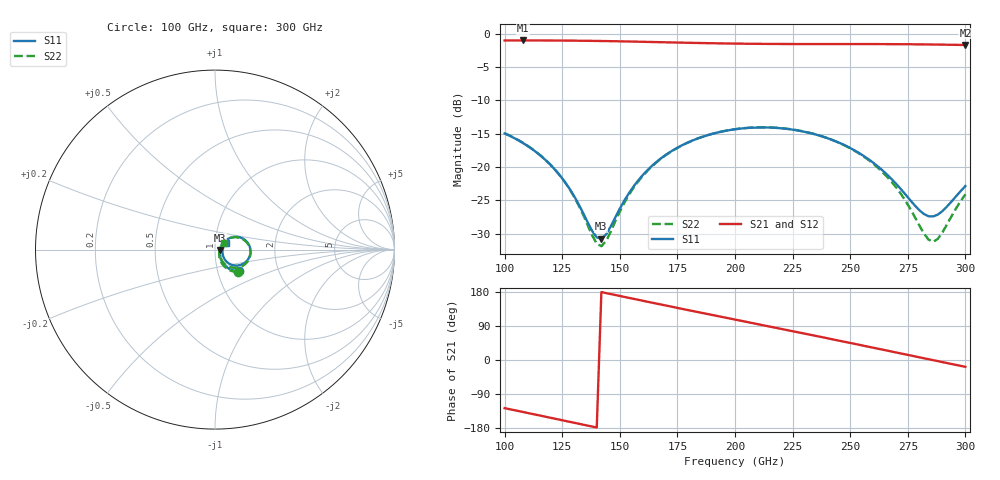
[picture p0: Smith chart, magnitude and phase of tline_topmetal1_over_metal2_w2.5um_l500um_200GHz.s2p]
#  GHZ S DB R 50
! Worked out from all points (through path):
!   101 points, 100 GHz to 300 GHz, reference 50 ohm
!   highest |S21| = -1.01 dB at 108 GHz (marker M1); lowest = -1.7 dB at 300 GHz (marker M2)
!   group delay of S21, straight-line fit = 3.47 ps
!   lowest |S11| = -30.8 dB at 142 GHz (marker M3), VSWR 1.06, Z = 53 - j0.271 ohm
!   |S11| at or under -10 dB: start of sweep to end of sweep
!   |S22| runs from -31.9 to -14.0 dB; largest |S21 - S12| = 1e-13
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100  -14.96 -42.1  -1.01 -127.1  -1.01 -127.1  -14.92 -44.1
108  -16.41 -49.5  -1.01 -137.2  -1.01 -137.2  -16.37 -51.9
122  -20.44 -59.0  -1.02 -155.1  -1.02 -155.1  -20.43 -62.5
128  -23.16 -59.1  -1.03 -162.8  -1.03 -162.8  -23.20 -63.5
134  -26.84 -51.3  -1.06 -170.5  -1.06 -170.5  -27.10 -57.1
140  -30.56 -21.1  -1.08 -178.2  -1.08 -178.2  -31.51 -26.2
142  -30.77 -5.1  -1.09 179.2  -1.09 179.2  -31.87 -7.8
144  -30.13 10.0  -1.10 176.7  -1.10 176.7  -31.14 9.5
152  -25.01 37.6  -1.15 166.5  -1.15 166.5  -25.34 38.4
156  -22.90 40.2  -1.18 161.4  -1.18 161.4  -23.10 40.5
168  -18.66 36.0  -1.27 146.2  -1.27 146.2  -18.72 35.2
184  -15.69 22.6  -1.39 126.3  -1.39 126.3  -15.70 20.8
200  -14.34 7.1  -1.48 106.7  -1.48 106.7  -14.32 4.5
216  -14.09 -8.7  -1.53 87.1  -1.53 87.1  -14.07 -12.2
234  -15.02 -26.0  -1.55 64.9  -1.55 64.9  -15.01 -30.9
254  -17.93 -42.1  -1.55 40.0  -1.55 40.0  -18.00 -49.8
268  -21.82 -45.7  -1.56 22.3  -1.56 22.3  -22.23 -57.7
280  -26.47 -27.2  -1.60 7.2  -1.60 7.2  -28.75 -43.5
284  -27.38 -11.7  -1.61 2.1  -1.61 2.1  -30.89 -22.5
286  -27.42 -3.0  -1.62 -0.4  -1.62 -0.4  -31.21 -8.2
290  -26.62 12.7  -1.64 -5.5  -1.64 -5.5  -29.83 17.5
300  -22.84 31.0  -1.69 -18.1  -1.69 -18.1  -24.09 38.4
